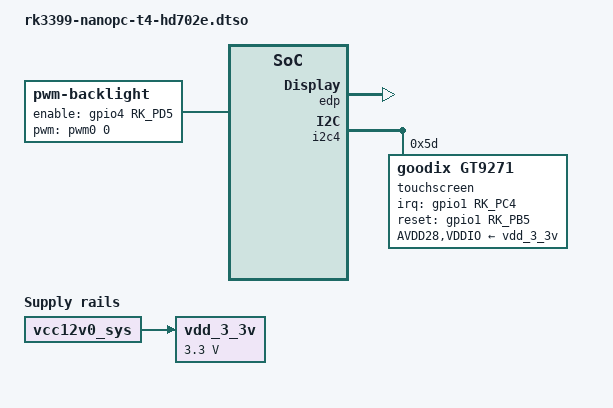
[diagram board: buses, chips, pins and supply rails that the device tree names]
// SPDX-License-Identifier: (GPL-2.0+ OR MIT)
/*
 * FriendlyElec HD702E LCD on NanoPC-T4 board
 */

/dts-v1/;
/plugin/;

#include <dt-bindings/gpio/gpio.h>
#include <dt-bindings/interrupt-controller/irq.h>
#include <dt-bindings/pinctrl/rockchip.h>

&{/} {
	vdd_3_3v: regulator-vdd_3_3v {
		compatible = "regulator-fixed";
		regulator-always-on;
		regulator-boot-on;
		regulator-min-microvolt = <3300000>;
		regulator-max-microvolt = <3300000>;
		regulator-name = "vdd_3.3v";
		vin-supply = <&vcc12v0_sys>;
	};

	backlight: backlight {
		compatible = "pwm-backlight";
		pwms = <&pwm0 0 25000 0>;
		enable-gpios = <&gpio4 RK_PD5 GPIO_ACTIVE_HIGH>;
		brightness-levels = <0 255>;
		default-brightness-level = <200>;
		num-interpolated-steps = <255>;
		pinctrl-0 = <&bl_en>;
		pinctrl-names = "default";
	};
};

&edp {
	force-hpd;
	status = "okay";

	aux-bus {
		panel {
			compatible = "friendlyarm,hd702e";
			backlight = <&backlight>;
			no-hpd;
			power-supply = <&vdd_3_3v>;

			port {
				panel_in_edp: endpoint {
					remote-endpoint = <&edp_out_panel>;
				};
			};
		};
	};
};

&edp_out {
	edp_out_panel: endpoint {
		remote-endpoint = <&panel_in_edp>;
	};
};

&i2c4 {
	#address-cells = <1>;
	#size-cells = <0>;

	touchscreen@5d {
		compatible = "goodix,gt9271";
		reg = <0x5d>;
		interrupt-parent = <&gpio1>;
		interrupts = <RK_PC4 IRQ_TYPE_EDGE_FALLING>;
		irq-gpios = <&gpio1 RK_PC4 GPIO_ACTIVE_HIGH>;
		reset-gpios = <&gpio1 RK_PB5 GPIO_ACTIVE_HIGH>;
		pinctrl-0 = <&touch_int &touch_rst>;
		pinctrl-names = "default";
		AVDD28-supply = <&vdd_3_3v>;
		VDDIO-supply = <&vdd_3_3v>;
	};
};

&pinctrl {
	backlight {
		bl_en: bl-en {
			rockchip,pins = <4 RK_PD5 RK_FUNC_GPIO &pcfg_pull_none>;
		};
	};

	touchscreen {
		touch_int: touch-int {
			rockchip,pins = <1 RK_PC4 RK_FUNC_GPIO &pcfg_pull_none>;
		};

		touch_rst: touch-rst {
			rockchip,pins = <1 RK_PB5 RK_FUNC_GPIO &pcfg_pull_none>;
		};
	};
};
